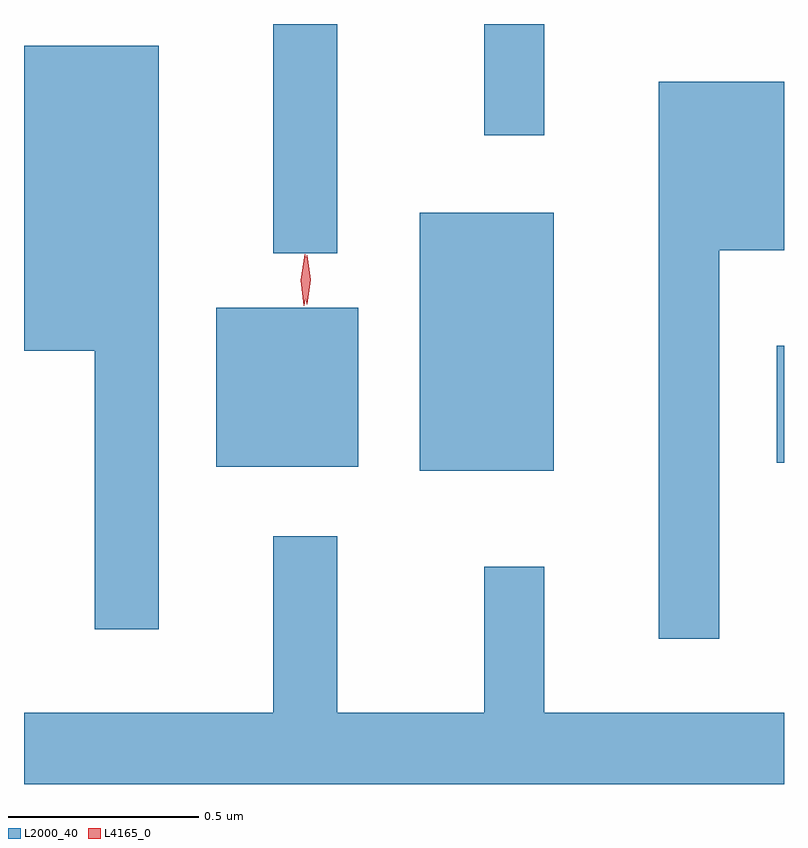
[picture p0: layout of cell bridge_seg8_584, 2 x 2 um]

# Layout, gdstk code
import gdstk
lib = gdstk.Library(unit=1e-6, precision=1e-09)
def R(c, l, rs):  # rectangles x0, y0, x1, y1
    for r in rs: c.add(gdstk.rectangle(r[:2], r[2:], *l))
def P(c, l, *ps):  # polygons
    for p in ps: c.add(gdstk.Polygon(p, *l))
L2000_40 = (2000, 40)
L4165_0 = (4165, 0)

bridge_seg8_584 = lib.new_cell('bridge_seg8_584')
R(bridge_seg8_584, L2000_40, [(548.286,1810.681,548.639,1811.359), (547.751,1810.691,548.124,1811.109), (549.226,1810.701,549.245,1811.009), (547.901,1811.253,548.069,1811.856), (548.456,1811.563,548.614,1811.856)])
P(bridge_seg8_584, L2000_40, [(547.599,1811.799),(547.245,1811.799),(547.245,1810.996),(547.431,1810.996),(547.431,1810.263),(547.599,1810.263)],
  [(549.074,1811.261),(549.245,1811.261),(549.245,1811.704),(548.916,1811.704),(548.916,1810.238),(549.074,1810.238)],
  [(549.245,1810.044),(548.614,1810.044),(548.614,1810.428),(548.456,1810.428),(548.456,1810.044),(548.069,1810.044),(548.069,1810.508),(547.901,1810.508),(547.901,1810.044),(547.245,1810.044),(547.245,1809.856),(549.245,1809.856)])
P(bridge_seg8_584, L4165_0, [(547.989,1811.118),(547.989,1811.118),(547.979,1811.183),(547.989,1811.247),(547.989,1811.247),(547.99,1811.247),(547.999,1811.183),(547.99,1811.118)],
  [(547.981,1811.114),(547.981,1811.114),(547.973,1811.182),(547.984,1811.25),(547.985,1811.25),(547.985,1811.25),(547.993,1811.182),(547.982,1811.114)])

lib.write_gds('bridge_seg8_584.gds')
